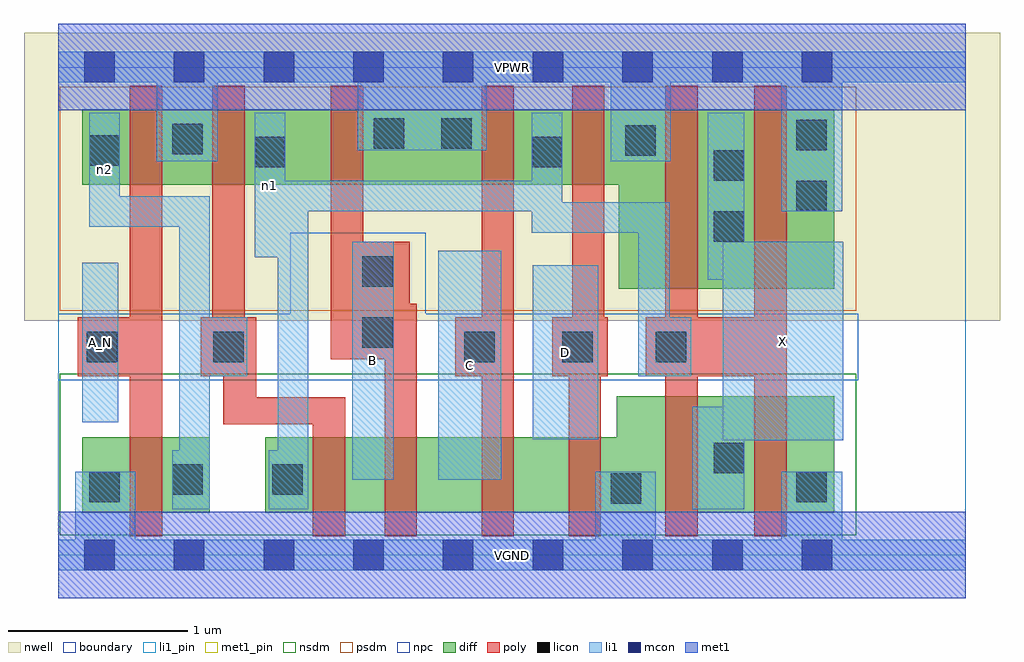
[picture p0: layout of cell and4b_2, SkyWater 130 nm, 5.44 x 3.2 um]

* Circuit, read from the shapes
.subckt and4b_2 A_N B C D VGND VPWR X n1 n2
XM1 n2 A_N VGND VSUBS sky130_fd_pr__nfet_01v8 w=0.42 l=0.18
XM2 n3 n2 n1 VSUBS sky130_fd_pr__nfet_01v8 w=0.42 l=0.18
XM3 n4 B n3 VSUBS sky130_fd_pr__nfet_01v8 w=0.42 l=0.18
XM4 n5 C n4 VSUBS sky130_fd_pr__nfet_01v8 w=0.42 l=0.18
XM5 VGND D n5 VSUBS sky130_fd_pr__nfet_01v8 w=0.42 l=0.18
XM6 X n1 VGND VSUBS sky130_fd_pr__nfet_01v8 w=0.65 l=0.18 m=2
XM7 VPWR A_N n2 n6 sky130_fd_pr__pfet_01v8 w=0.42 l=0.18
XM8 n1 n2 VPWR n6 sky130_fd_pr__pfet_01v8 w=0.42 l=0.18
XM9 VPWR B n1 n6 sky130_fd_pr__pfet_01v8 w=0.42 l=0.18
XM10 n1 C VPWR n6 sky130_fd_pr__pfet_01v8 w=0.42 l=0.18
XM11 VPWR D n1 n6 sky130_fd_pr__pfet_01v8 w=0.42 l=0.18
XM12 X n1 VPWR n6 sky130_fd_pr__pfet_01v8 w=1 l=0.18 m=2
.ends

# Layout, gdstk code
import gdstk
lib = gdstk.Library(unit=1e-6, precision=1e-09)
def R(c, l, rs):  # rectangles x0, y0, x1, y1
    for r in rs: c.add(gdstk.rectangle(r[:2], r[2:], *l))
def A(c, l, x, y, w, h, nx, ny, dx, dy):  # array of equal rectangles
    R(c, l, [(x+i*dx, y+j*dy, x+i*dx+w, y+j*dy+h) for i in range(nx) for j in range(ny)])
nwell = (64, 20)
diff = (65, 20)
poly = (66, 20)
licon = (66, 44)
li1_pin = (67, 16)
li1 = (67, 20)
mcon = (67, 44)
met1_pin = (68, 16)
met1 = (68, 20)
nsdm = (93, 44)
psdm = (94, 20)
npc = (95, 20)
boundary = (235, 4)

and4b_2 = lib.new_cell('and4b_2')
R(and4b_2, nwell, [(-0.19,1.305,5.25,2.91), (0,1.305,5.06,2.91)])
R(and4b_2, diff, [(0.135,0.235,0.845,0.655), (1.155,0.235,4.325,0.655), (3.115,0.235,4.325,0.885), (3.125,1.485,4.325,2.485), (0.135,2.065,4.325,2.485)])
R(and4b_2, poly, [(0.4,0.105,0.58,2.615), (1.42,0.105,1.6,0.88), (1.82,0.105,2,1.4), (2.36,0.105,2.54,2.615), (2.845,0.105,3.025,1.325), (3.385,0.105,3.565,2.615), (3.88,0.105,4.06,2.615), (0.92,0.73,1.6,0.88), (0.92,0.73,1.105,1.325), (0.11,0.995,0.58,1.325), (0.795,0.995,1.105,1.325), (0.86,0.995,1.04,2.615), (2.215,0.995,2.54,1.325), (2.755,0.995,3.065,1.325), (2.865,0.995,3.045,2.615), (3.275,0.995,4.06,1.325), (1.52,1.09,1.96,1.745), (1.52,1.09,1.7,2.615)])
R(and4b_2, licon, [(3.08,0.285,3.25,0.455), (0.175,0.295,0.345,0.465), (4.115,0.295,4.285,0.465), (0.635,0.335,0.805,0.505), (1.195,0.335,1.365,0.505), (3.655,0.455,3.825,0.625), (0.16,1.075,0.33,1.245), (0.865,1.075,1.035,1.245), (2.265,1.075,2.435,1.245), (2.81,1.075,2.98,1.245), (3.33,1.075,3.5,1.245), (1.695,1.155,1.865,1.325), (1.695,1.495,1.865,1.665), (3.655,1.745,3.825,1.915), (4.115,1.915,4.285,2.085), (3.655,2.085,3.825,2.255), (1.095,2.16,1.265,2.33), (2.64,2.16,2.81,2.33), (0.175,2.17,0.345,2.34), (3.16,2.225,3.33,2.395), (0.635,2.235,0.805,2.405), (4.115,2.255,4.285,2.425), (1.76,2.265,1.93,2.435), (2.135,2.265,2.305,2.435)])
R(and4b_2, li1_pin, [(1.64,0.42,1.87,1.745), (2.12,0.42,2.47,1.695), (3.705,0.64,4.375,1.745), (2.645,0.645,3.01,1.615), (0.135,0.74,0.335,1.63)])
R(and4b_2, li1, [(0,-0.085,5.06,0.085), (0.095,-0.085,0.43,0.465), (2.995,-0.085,3.33,0.465), (4.03,-0.085,4.37,0.465), (0.635,0.255,0.845,0.585), (0.675,0.255,0.845,2), (1.175,0.255,1.395,0.585), (1.225,0.255,1.395,2.085), (3.535,0.255,3.825,0.825), (1.64,0.42,1.87,1.745), (2.12,0.42,2.47,1.695), (3.705,0.64,4.375,1.745), (2.645,0.645,3.01,1.615), (0.135,0.74,0.335,1.63), (0.675,0.995,1.055,1.325), (3.235,0.995,3.41,1.965), (3.235,0.995,3.53,1.325), (3.62,1.535,3.825,2.465), (1.095,1.66,1.265,2.465), (2.64,1.795,3.41,1.965), (2.64,1.795,2.81,2.465), (0.175,1.83,0.345,2.465), (0.175,1.83,0.845,2), (1.095,1.915,2.81,2.085), (4.03,1.915,4.37,2.805), (0.55,2.195,0.89,2.805), (3.08,2.195,3.415,2.805), (1.67,2.255,2.39,2.805), (0,2.635,5.06,2.805)])
A(and4b_2, mcon, 0.145, -0.085, 0.17, 0.17, 9, 2, 0.5, 2.72)
R(and4b_2, met1_pin, [(0,-0.24,5.06,0.24), (0,2.48,5.06,2.96)])
R(and4b_2, met1, [(0,-0.24,5.06,0.24), (0,2.48,5.06,2.96)])
R(and4b_2, nsdm, [(0.01,0.11,4.45,1.01)])
R(and4b_2, psdm, [(0.01,1.36,4.45,2.61)])
R(and4b_2, npc, [(0,0.975,4.46,1.345), (1.295,0.975,2.05,1.795)])
R(and4b_2, boundary, [(0,0,5.06,2.72)])
and4b_2.add(gdstk.Label('A_N', (0.235,1.185), layer=67, texttype=5))
and4b_2.add(gdstk.Label('B', (1.755,1.082), layer=67, texttype=5))
and4b_2.add(gdstk.Label('C', (2.295,1.057), layer=67, texttype=5))
and4b_2.add(gdstk.Label('D', (2.827,1.13), layer=67, texttype=5))
and4b_2.add(gdstk.Label('X', (4.04,1.192), layer=67, texttype=5))
and4b_2.add(gdstk.Label('n2', (0.26,2.147), layer=67, texttype=5))
and4b_2.add(gdstk.Label('n1', (1.18,2.062), layer=67, texttype=5))
and4b_2.add(gdstk.Label('VPWR', (2.53,2.72), layer=68, texttype=5))
and4b_2.add(gdstk.Label('VGND', (2.53,0), layer=68, texttype=5))
and4b_2.add(gdstk.Label('A_N', (0.235,1.185), layer=67, texttype=16))
and4b_2.add(gdstk.Label('B', (1.755,1.082), layer=67, texttype=16))
and4b_2.add(gdstk.Label('C', (2.295,1.057), layer=67, texttype=16))
and4b_2.add(gdstk.Label('D', (2.827,1.13), layer=67, texttype=16))
and4b_2.add(gdstk.Label('X', (4.04,1.192), layer=67, texttype=16))
and4b_2.add(gdstk.Label('VPWR', (2.53,2.72), layer=68, texttype=16))
and4b_2.add(gdstk.Label('VGND', (2.53,0), layer=68, texttype=16))

lib.write_gds('and4b_2.gds')
